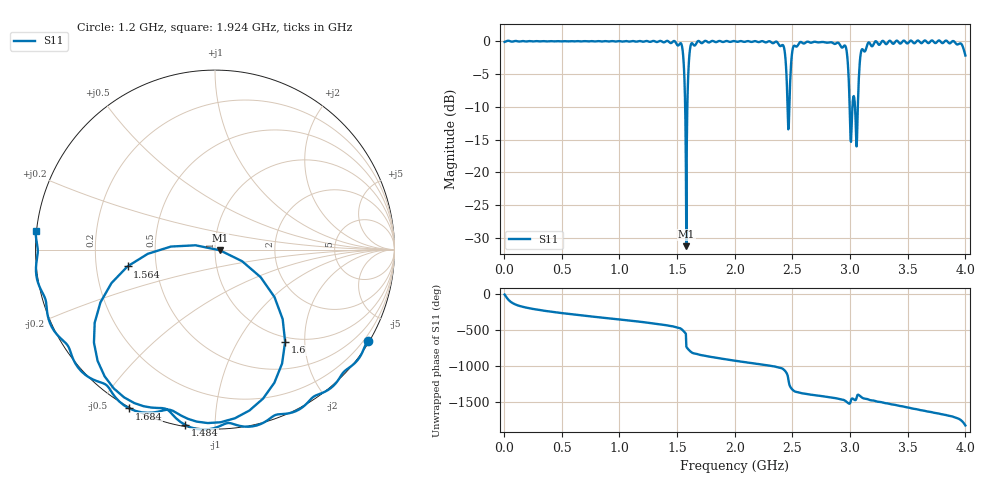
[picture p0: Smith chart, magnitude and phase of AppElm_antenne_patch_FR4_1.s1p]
! TOUCHSTONE file generated by CST MICROWAVE STUDIO
! Date and time: Tue Jun 14 14:10:44 2022
! Project name: AppElm_antenne_patch_FR4.cst
! Parameters = {L=45; W=58.5; e=0.035; h=1.6; lambda=0.190476; ls=120; w0=2.54; w1=0.847; ws=90; y0=18; y1=23.8}
! Header version: 2018
! Port assignment regex: !\s*Touchstone port\s*([0-9]+)\s*=\s*(CST MWS port|CST DS port)\s*([0-9]+|Zmin|Zmax)\s*\(\"(.*)\"\)(\s*mode\s*([0-9]+))?.*
! Touchstone port assignment:
! Touchstone port 1 = CST MWS port 1 ("")
# GHz S MA R 50
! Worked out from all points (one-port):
!   1000 points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, 4 MHz to 4 GHz, reference 50 ohm
!   lowest |S11| = -31.3 dB at 1.58 GHz (marker M1), VSWR 1.06, Z = 52.8 - j0.395 ohm
!   |S11| at or under -10 dB: 1.57 GHz to 1.589 GHz (19.07 MHz wide, 1.21 % of centre); 2.996 GHz to 3.021 GHz (24.17 MHz wide, 0.803 % of centre); 3.042 GHz to 3.067 GHz (24.87 MHz wide, 0.814 % of centre)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
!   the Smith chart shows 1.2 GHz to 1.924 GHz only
!   S11 on the Smith chart (normalised r, x): 1.2 GHz: 0.05, -3.61; 1.484 GHz: 0.01, -0.84; 1.564 GHz: 0.34, -0.08; 1.6 GHz: 0.92, -1.62; 1.684 GHz: -0.00, -0.60; 1.924 GHz: -0.00, +0.05
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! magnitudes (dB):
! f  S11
! 4 MHz  -0.1
! 504 MHz  0.0
! 1.004 GHz  0.0
! 1.2 GHz  -0.1
! 1.484 GHz  -0.1
! 1.504 GHz  -0.6
! 1.544 GHz  -0.9
! 1.564 GHz  -6.1
! 1.58 GHz  -31.3
! 1.6 GHz  -3.8
! 1.608 GHz  -1.8
! 1.62 GHz  -0.5
! 1.684 GHz  0.0
! 1.924 GHz  0.0
! 2.004 GHz  0.0
! 2.412 GHz  -0.6
! 2.432 GHz  -1.4
! 2.464 GHz  -13.4
! 2.504 GHz  -1.1
! 2.948 GHz  -0.7
! 2.972 GHz  -1.7
! 3.004 GHz  -14.9
! 3.056 GHz  -16.1
! 3.096 GHz  -1.5
! 3.156 GHz  -0.3
! 3.504 GHz  -0.3
! 3.896 GHz  0.0
! 4 GHz  -2.2
